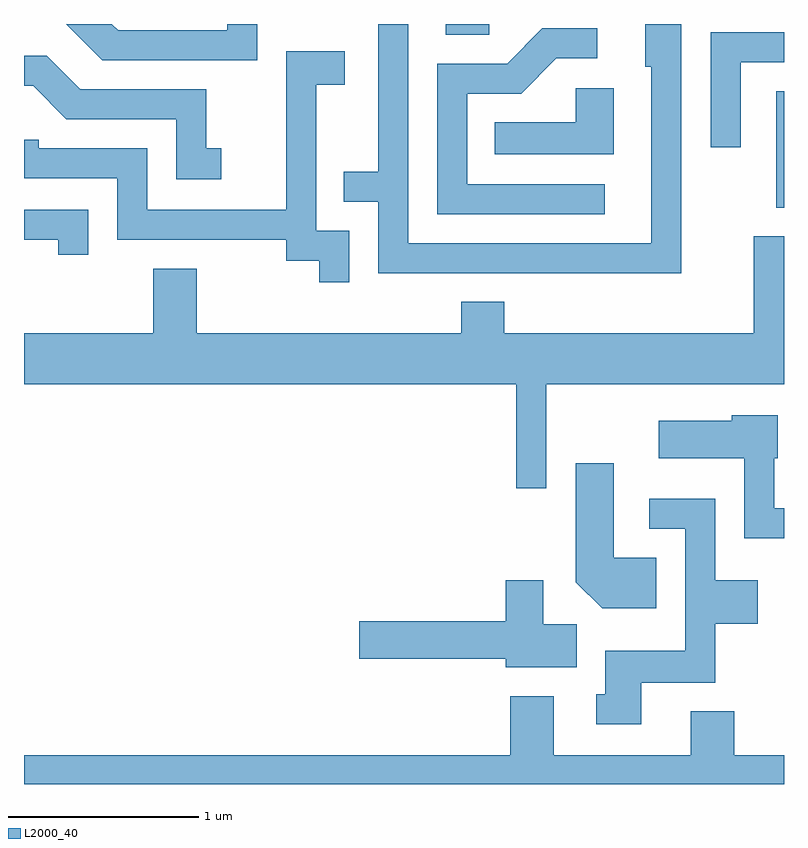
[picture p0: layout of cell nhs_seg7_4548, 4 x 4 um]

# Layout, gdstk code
import gdstk
lib = gdstk.Library(unit=1e-6, precision=1e-09)
def R(c, l, rs):  # rectangles x0, y0, x1, y1
    for r in rs: c.add(gdstk.rectangle(r[:2], r[2:], *l))
def P(c, l, *ps):  # polygons
    for p in ps: c.add(gdstk.Polygon(p, *l))
L2000_40 = (2000, 40)

nhs_seg7_4548 = lib.new_cell('nhs_seg7_4548')
R(nhs_seg7_4548, L2000_40, [(329.571,1675.286,329.611,1675.899), (327.831,1676.196,328.059,1676.252)])
P(nhs_seg7_4548, L2000_40, [(326.839,1676.252),(326.681,1676.252),(326.681,1676.219),(326.107,1676.219),(326.074,1676.252),(325.833,1676.252),(326.024,1676.061),(326.839,1676.061)],
  [(329.069,1676.252),(328.881,1676.252),(328.881,1676.026),(328.911,1676.026),(328.911,1675.099),(327.634,1675.099),(327.634,1676.252),(327.476,1676.252),(327.476,1675.474),(327.293,1675.474),(327.293,1675.316),(327.476,1675.316),(327.476,1674.941),(329.069,1674.941)],
  [(328.668,1675.409),(327.944,1675.409),(327.944,1675.886),(328.227,1675.886),(328.412,1676.071),(328.628,1676.071),(328.628,1676.229),(328.339,1676.229),(328.154,1676.044),(327.786,1676.044),(327.786,1675.251),(328.668,1675.251)],
  [(329.384,1676.051),(329.611,1676.051),(329.611,1676.209),(329.226,1676.209),(329.226,1675.603),(329.384,1675.603)],
  [(327.324,1675.164),(327.149,1675.164),(327.149,1675.931),(327.299,1675.931),(327.299,1676.109),(326.991,1676.109),(326.991,1675.274),(326.259,1675.274),(326.259,1675.599),(325.689,1675.599),(325.689,1675.644),(325.611,1675.644),(325.611,1675.441),(326.101,1675.441),(326.101,1675.116),(326.991,1675.116),(326.991,1675.006),(327.166,1675.006),(327.166,1674.893),(327.324,1674.893)],
  [(326.648,1675.599),(326.569,1675.599),(326.569,1675.909),(325.907,1675.909),(325.732,1676.084),(325.611,1676.084),(325.611,1675.926),(325.659,1675.926),(325.834,1675.751),(326.411,1675.751),(326.411,1675.436),(326.648,1675.436)],
  [(328.714,1675.914),(328.516,1675.914),(328.516,1675.734),(328.088,1675.734),(328.088,1675.566),(328.714,1675.566)],
  [(325.949,1675.274),(325.611,1675.274),(325.611,1675.116),(325.791,1675.116),(325.791,1675.038),(325.949,1675.038)],
  [(328.359,1674.356),(329.611,1674.356),(329.611,1675.134),(329.451,1675.134),(329.451,1674.624),(328.139,1674.624),(328.139,1674.789),(327.911,1674.789),(327.911,1674.624),(326.519,1674.624),(326.519,1674.964),(326.291,1674.964),(326.291,1674.624),(325.611,1674.624),(325.611,1674.356),(328.201,1674.356),(328.201,1673.808),(328.359,1673.808)],
  [(329.611,1673.704),(329.559,1673.704),(329.559,1673.966),(329.579,1673.966),(329.579,1674.194),(329.336,1674.194),(329.336,1674.164),(328.951,1674.164),(328.951,1673.966),(329.401,1673.966),(329.401,1673.546),(329.611,1673.546)],
  [(328.939,1673.444),(328.714,1673.444),(328.714,1673.939),(328.516,1673.939),(328.516,1673.314),(328.654,1673.176),(328.939,1673.176)],
  [(328.859,1672.786),(329.249,1672.786),(329.249,1673.096),(329.474,1673.096),(329.474,1673.324),(329.249,1673.324),(329.249,1673.754),(328.903,1673.754),(328.903,1673.596),(329.091,1673.596),(329.091,1672.954),(328.671,1672.954),(328.671,1672.724),(328.623,1672.724),(328.623,1672.566),(328.859,1672.566)],
  [(328.519,1673.094),(328.344,1673.094),(328.344,1673.324),(328.146,1673.324),(328.146,1673.109),(327.376,1673.109),(327.376,1672.911),(328.146,1672.911),(328.146,1672.866),(328.519,1672.866)],
  [(329.611,1672.404),(329.349,1672.404),(329.349,1672.634),(329.121,1672.634),(329.121,1672.404),(328.399,1672.404),(328.399,1672.714),(328.171,1672.714),(328.171,1672.404),(325.611,1672.404),(325.611,1672.252),(329.611,1672.252)])

lib.write_gds('nhs_seg7_4548.gds')
